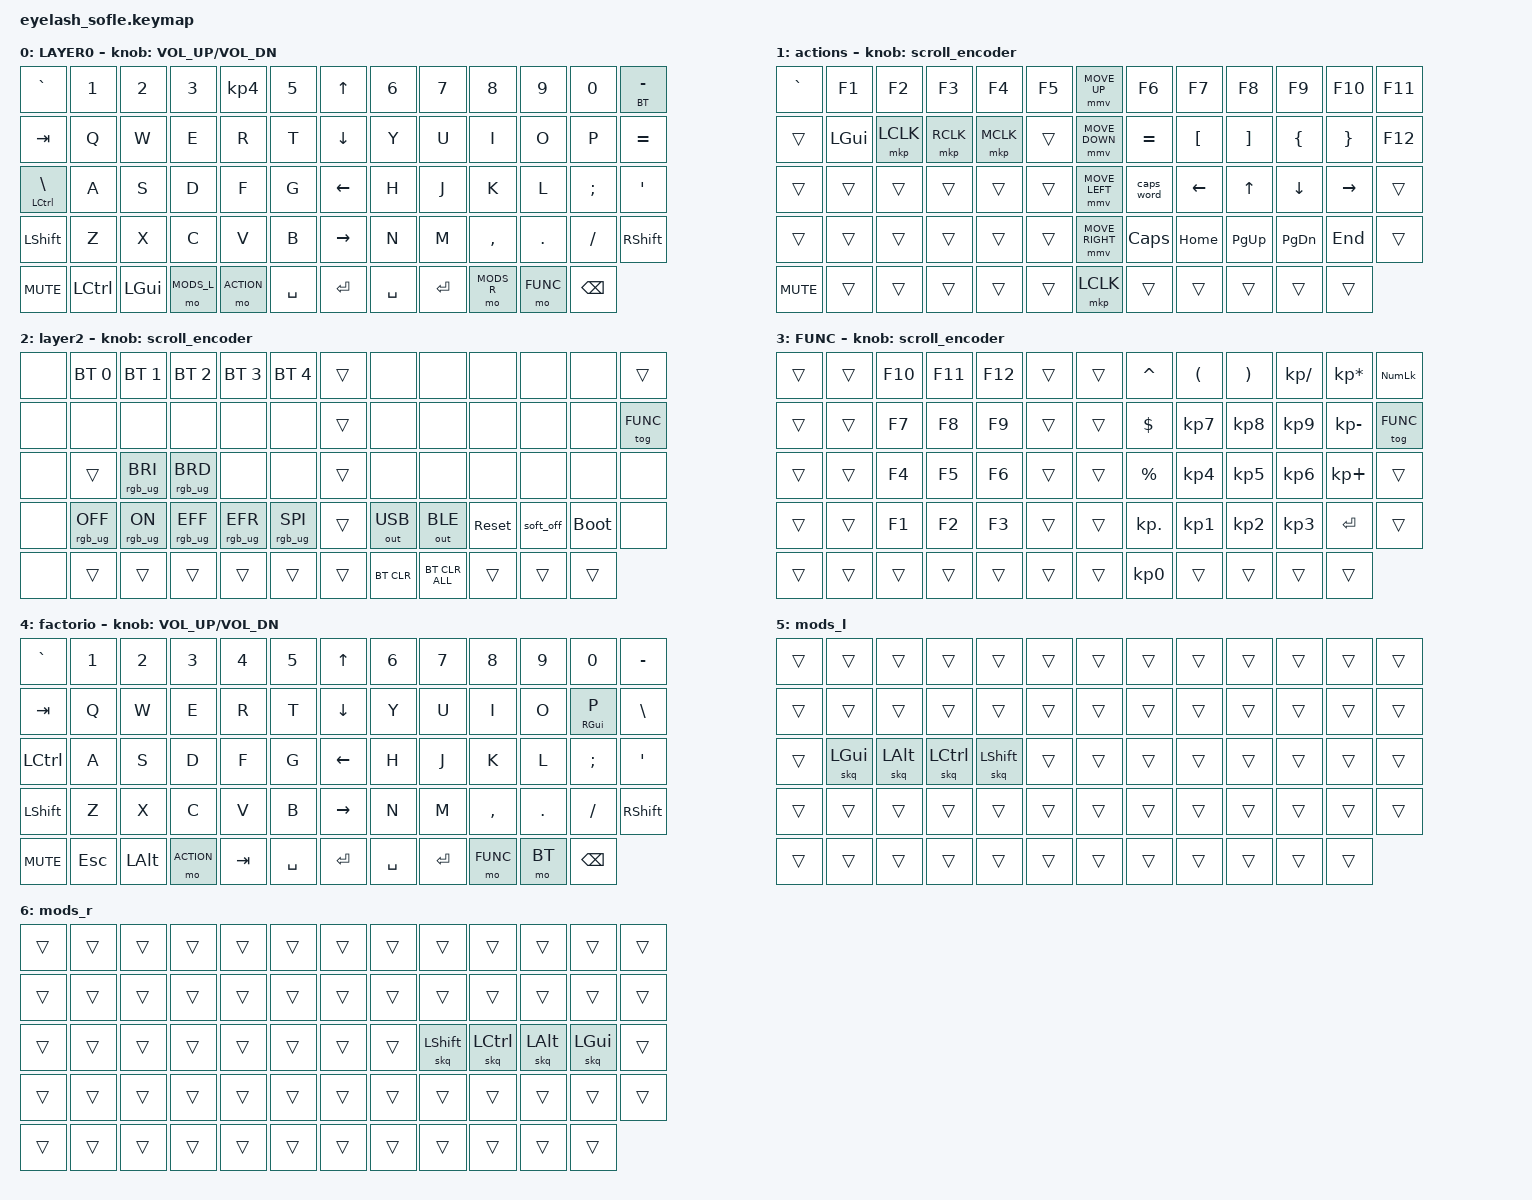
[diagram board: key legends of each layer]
#define BASE 0
#define ACTION 1
#define BT 2
#define FUNC 3
#define FACTORIO 4
#define MODS_L 5
#define MODS_R 6

#define ZMK_POINTING_DEFAULT_MOVE_VAL 1200  // 600
#define ZMK_POINTING_DEFAULT_SCRL_VAL 25   // 10

#define MO_TOG(layer) &mo_tog layer layer   // Macro to apply momentary-layer-on-hold/toggle-layer-on-tap to a specific layer

#include <input/processors.dtsi>
#include <zephyr/dt-bindings/input/input-event-codes.h>
#include <behaviors.dtsi>
#include <dt-bindings/zmk/bt.h>
#include <dt-bindings/zmk/keys.h>
#include <dt-bindings/zmk/outputs.h>
#include <dt-bindings/zmk/pointing.h>
#include <dt-bindings/zmk/rgb.h>


// Personal includes
#include "includes/settings.dtsi"
#include "includes/b_homerow.dtsi"

&mmv_input_listener { input-processors = <&zip_xy_scaler 2 1>; };

&msc_input_listener { input-processors = <&zip_scroll_scaler 2 1>; };

&msc {
    acceleration-exponent = <1>;      // 0
    time-to-max-speed-ms = <100>;       // 300
    delay-ms = <0>;                   // 0
};

&mmv {
    time-to-max-speed-ms = <500>;
    acceleration-exponent = <1>;
    trigger-period-ms = <16>;
};

&soft_off { hold-time-ms = <2000>; };

/ {
    scroll_encoder: scroll_encoder {
        compatible = "zmk,behavior-sensor-rotate";
        #sensor-binding-cells = <0>;
        bindings = <&msc SCRL_DOWN>, <&msc SCRL_UP>;

        tap-ms = <100>;
    };

    behaviors {
        skq: sticky_key_quick_release {
            compatible = "zmk,behavior-sticky-key";
            #binding-cells = <1>;
            bindings = <&kp>;
            release-after-ms = <2000>;
            quick-release;
            ignore-modifiers;
        };

        gresc: grave_escape {
            compatible = "zmk,behavior-mod-morph";
            #binding-cells = <0>;
            bindings = <&kp ESC>, <&kp GRAVE>;
            mods = <(MOD_LGUI|MOD_LSFT|MOD_RGUI|MOD_RSFT)>;
        };

        mo_tog: behavior_mo_tog {
            compatible = "zmk,behavior-hold-tap";
            #binding-cells = <2>;
            flavor = "hold-preferred";
            tapping-term-ms = <200>;
            bindings = <&mo>, <&tog>;
        };

        td0: tap_dance_0 {
            compatible = "zmk,behavior-tap-dance";
            #binding-cells = <0>;
            tapping-term-ms = <200>;
            bindings = <&mt LSHIFT LPAR>, <&caps_word>;
        };

        td1: tap_dance_1 {
            compatible = "zmk,behavior-tap-dance";
            #binding-cells = <0>;
            tapping-term-ms = <200>;
            bindings = <&mt RSHIFT RPAR>, <&caps_word>;
        };

    };

    combos {
        compatible = "zmk,combos";

        softoff {
            bindings = <&soft_off>;
            key-positions = <14 28 40>;
        };

        cmb_copy {
            bindings = <&kp LC(C)>;
            key-positions = <41 42>;
        };

        cmb_paste {
            bindings = <&kp LC(V)>;
            key-positions = <42 43>;
        };

        cmb_cut {
            bindings = <&kp LC(X)>;
            key-positions = <41 43>;
        };

        cmb_undo {
            bindings = <&kp LC(Z)>;
            key-positions = <40 42>;
        };

        cmb_delete {
            bindings = <&kp DELETE>;
            key-positions = <22 23>;
        };    

        cmb_backspace {
            bindings = <&kp BACKSPACE>;
            key-positions = <21 22>;
        };

        cmb_esc {
            bindings = <&kp ESCAPE>;
            key-positions = <27 30>;
        };

        cmb_factorio {
            bindings = <&tog FACTORIO>;
            key-positions = <14 17 18>;
        };          

        cmb_scrollup {
            bindings = <&msc SCRL_UP>;
            key-positions = <34 35>;
        };

        cmb_scrolldown {
            bindings = <&msc SCRL_DOWN>;
            key-positions = <47 48>;
        };

        cmb_cbkspac {
            bindings = <&kp LC(BACKSPACE)>;
            key-positions = <20 21>;
        };

        cmb_tab {
           bindings = <&kp TAB>;
           key-positions = <29 30>;
        };
    };

    macros {
        SHIFT_MCLK: SHIFT_MCLK {
            compatible = "zmk,behavior-macro";
            #binding-cells = <0>;
            bindings =
                <&macro_press>,
                <&kp LEFT_SHIFT>,
                <&macro_press>,
                <&mkp MB3>,
                <&macro_pause_for_release>,
                <&macro_release>,
                <&kp LEFT_SHIFT &mkp MB3>;

            label = "SHIFT_MCLK";
        };
    };

    keymap {
        compatible = "zmk,keymap";

// ┌─────────┬───┬───┬───┬───┬───┬────────┬───┬───┬───┬───┬───┬───────────┐
// │ ESC     │ 1 │ 2 │ 3 │ 4 │ 5 │  D-UP  │ 6 │ 7 │ 8 │ 9 │ 0 │   MINUS   │
// │   0     │ 1 │ 2 │ 3 │ 4 │ 5 │   6    │ 7 │ 8 │ 9 │10 │11 │    12     │
// ├─────────┼───┼───┼───┼───┼───┼────────┼───┼───┼───┼───┼───┼───────────┤
// │ TAB     │ Q │ W │ E │ R │ T │ D-DOWN │ Y │ U │ I │ O │ P │   PLUS    │
// │   13    │14 │15 │16 │17 │18 │   19   │20 │21 │22 │23 │24 │    25     │
// ├─────────┼───┼───┼───┼───┼───┼────────┼───┼───┼───┼───┼───┼───────────┤
// │ CAPS    │ A │ S │ D │ F │ G │ D-LEFT │ H │ J │ K │ L │ ; │     '     │
// │   26    │27 │28 │29 │30 │31 │   32   │33 │34 │35 │36 │37 │    38     │
// ├─────────┼───┼───┼───┼───┼───┼────────┼───┼───┼───┼───┼───┼───────────┤
// │ LSHFT   │ Z │ X │ C │ V │ B │D-RIGHT │ N │ M │ , │ . │ / │   RSHFT   │
// │   39    │40 │41 │42 │43 │44 │   45   │46 │47 │48 │49 │50 │    51     │
// ├─────────┼───┼───┼───┼───┼───┼────────┼───┼───┼───┼───┼───┼───────────┤
// │ ENC_P   │CTL│GUI│ALT│mo1│SPC│D-CLICK │T1 │ T2│T3 |T4 |T5 |           │
// │   52    │53 │54 │55 │56 │57 │   58   │59 │60 │61 │62 │63 │           │
// └─────────┴───┴───┴───┴───┴───┴────────┴───┴───┴───┴───┴───┴───────────┘
        base {
            bindings = <
&kp GRAVE           &kp N1          &kp N2          &kp N3          &kp KP_N4   &kp N5      &kp UP_ARROW     &kp N6     &kp N7      &kp N8            &kp N9          &kp N0          &lt BT MINUS
&kp TAB             &kp Q           &kp W           &kp E           &kp R       &kp T       &kp DOWN_ARROW   &kp Y      &kp U       &kp I             &kp O           &kp P           &kp EQUAL
&mt LCTRL BSLH      &kp A           &kp S           &kp D           &kp F       &kp G       &kp LEFT_ARROW   &kp H      &kp J       &kp K             &kp L           &kp SEMI        &kp APOS
&kp LSHFT                &kp Z           &kp X           &kp C           &kp V       &kp B       &kp RIGHT_ARROW  &kp N      &kp M       &kp COMMA         &kp DOT         &kp FSLH   &kp RSHFT
&kp C_MUTE          &kp LCTRL       &kp LGUI        &mo MODS_L      &mo ACTION  &kp SPACE   &kp ENTER        &kp SPACE  &kp ENTER &mo MODS_R   &mo FUNC        &kp BACKSPACE
            >;

            sensor-bindings = <&inc_dec_kp C_VOLUME_UP C_VOL_DN>;
            display-name = "LAYER0";
        };

        layer_actions {  
            bindings = <  
&kp GRAVE           &kp F1           &kp F2             &kp F3          &kp F4             &kp F5       &mmv MOVE_UP     &kp F6           &kp F7            &kp F8              &kp F9          &kp F10         &kp F11
&trans              &kp LGUI         &mkp LCLK          &mkp RCLK       &mkp MCLK          &trans       &mmv MOVE_DOWN   &kp EQUAL        &kp LEFT_BRACKET  &kp RIGHT_BRACKET   &kp LEFT_BRACE  &kp RIGHT_BRACE &kp F12
&trans              &trans           &trans             &trans          &trans             &trans       &mmv MOVE_LEFT   &caps_word       &kp LEFT          &kp UP              &kp DOWN        &kp RIGHT       &trans
&trans              &trans           &trans             &trans          &trans             &trans       &mmv MOVE_RIGHT  &kp CAPS         &kp HOME          &kp PG_UP           &kp PG_DN       &kp END         &trans
&kp C_MUTE          &trans           &trans             &trans          &trans             &trans       &mkp LCLK        &trans           &trans            &trans              &trans          &trans
            >;

            display-name = "actions";
            sensor-bindings = <&scroll_encoder>;
        };

        layer_bt {
            bindings = <
&none               &bt BT_SEL 0     &bt BT_SEL 1    &bt BT_SEL 2        &bt BT_SEL 3    &bt BT_SEL 4    &trans         &none             &none           &none       &none      &none          &trans
&none               &none            &none           &none               &none           &none           &trans         &none             &none           &none       &none      &none          &tog FUNC
&none               &trans           &rgb_ug RGB_BRI &rgb_ug RGB_BRD     &none           &none           &trans         &none             &none           &none       &none      &none          &none
&none               &rgb_ug RGB_OFF  &rgb_ug RGB_ON  &rgb_ug RGB_EFF     &rgb_ug RGB_EFR &rgb_ug RGB_SPI &trans         &out OUT_USB      &out OUT_BLE    &sys_reset  &soft_off  &bootloader    &none
&none               &trans           &trans          &trans              &trans          &trans          &trans         &bt BT_CLR        &bt BT_CLR_ALL  &trans      &trans     &trans
            >;

            display-name = "layer2";
            sensor-bindings = <&scroll_encoder>;
        };

        layer_functions {
            bindings = <
&trans  &trans  &kp F10 &kp F11 &kp F12 &trans    &trans     &kp CARET   &kp LPAR    &kp RPAR    &kp KP_DIVIDE &kp KP_MULTIPLY &kp KP_NUM
&trans  &trans  &kp F7  &kp F8  &kp F9  &trans    &trans     &kp DOLLAR  &kp KP_N7   &kp KP_N8   &kp KP_N9     &kp KP_MINUS    &tog FUNC
&trans  &trans  &kp F4  &kp F5  &kp F6  &trans    &trans     &kp PRCNT   &kp KP_N4   &kp KP_N5   &kp KP_N6     &kp KP_PLUS     &trans
&trans  &trans  &kp F1  &kp F2  &kp F3  &trans    &trans     &kp KP_DOT  &kp KP_N1   &kp KP_N2   &kp KP_N3     &kp ENTER       &trans
&trans  &trans  &trans  &trans  &trans  &trans    &trans     &kp KP_N0   &trans      &trans      &trans        &trans
            >;

            display-name = "FUNC";
            sensor-bindings = <&scroll_encoder>;
        };

        factorio {
            bindings = <
&kp GRAVE   &kp N1      &kp N2      &kp N3      &kp N4      &kp N5      &kp UP_ARROW     &kp N6     &kp N7     &kp N8      &kp N9  &kp N0          &kp MINUS
&kp TAB     &kp Q       &kp W       &kp E       &kp R       &kp T       &kp DOWN_ARROW   &kp Y      &kp U      &kp I       &kp O   &hm_r RGUI P    &kp BSLH
&kp LCTRL   &kp A       &kp S       &kp D       &kp F       &kp G       &kp LEFT_ARROW   &kp H      &kp J      &kp K       &kp L   &kp SEMI        &kp APOS
&kp LSHIFT  &kp Z       &kp X       &kp C       &kp V       &kp B       &kp RIGHT_ARROW  &kp N      &kp M      &kp COMMA   &kp DOT &kp FSLH        &kp RSHIFT
&kp C_MUTE  &kp ESCAPE  &kp LALT    &mo ACTION  &kp TAB     &kp SPACE   &kp ENTER        &kp SPACE  &kp ENTER  &mo FUNC    &mo BT  &kp BACKSPACE
            >;

            display-name = "factorio";
            sensor-bindings = <&inc_dec_kp C_VOLUME_UP C_VOL_DN>;
        };

        // Left-half sticky mods: hold LALT (thumb), tap A S D F = GUI ALT CTRL SHIFT
        layer_mods_l {
            bindings = <
&trans  &trans  &trans  &trans  &trans  &trans  &trans  &trans  &trans  &trans  &trans  &trans  &trans
&trans  &trans  &trans  &trans  &trans  &trans  &trans  &trans  &trans  &trans  &trans  &trans  &trans
&trans  &skq LGUI  &skq LALT  &skq LCTRL  &skq LSHIFT  &trans  &trans  &trans  &trans  &trans  &trans  &trans  &trans
&trans  &trans  &trans  &trans  &trans  &trans  &trans  &trans  &trans  &trans  &trans  &trans  &trans
&trans  &trans  &trans  &trans  &trans  &trans  &trans  &trans  &trans  &trans  &trans  &trans
            >;

            display-name = "mods_l";
        };

        // Right-half sticky mods: hold K_APP (thumb), tap J K L ; = SHIFT CTRL ALT GUI
        layer_mods_r {
            bindings = <
&trans  &trans  &trans  &trans  &trans  &trans  &trans  &trans  &trans  &trans  &trans  &trans  &trans
&trans  &trans  &trans  &trans  &trans  &trans  &trans  &trans  &trans  &trans  &trans  &trans  &trans
&trans  &trans  &trans  &trans  &trans  &trans  &trans  &trans  &skq LSHIFT  &skq LCTRL  &skq LALT  &skq LGUI  &trans
&trans  &trans  &trans  &trans  &trans  &trans  &trans  &trans  &trans  &trans  &trans  &trans  &trans
&trans  &trans  &trans  &trans  &trans  &trans  &trans  &trans  &trans  &trans  &trans  &trans
            >;

            display-name = "mods_r";
        };
    };
};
